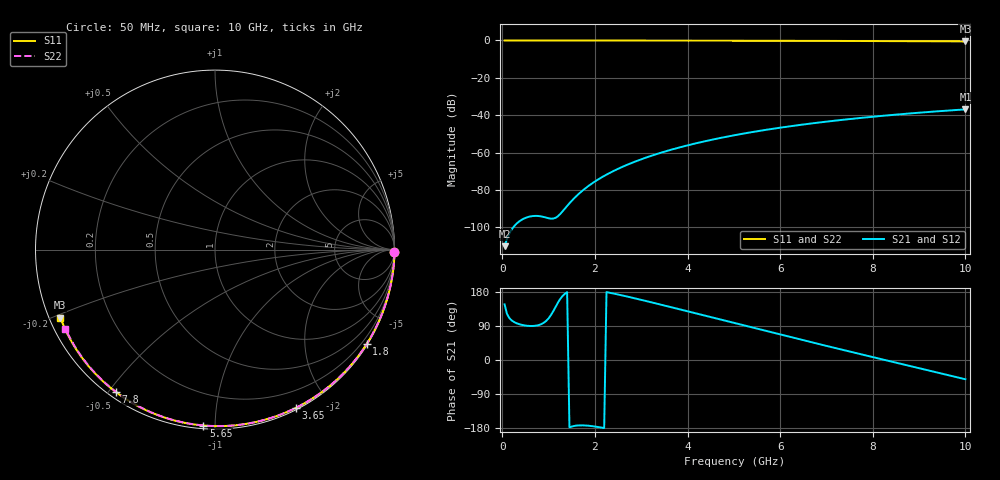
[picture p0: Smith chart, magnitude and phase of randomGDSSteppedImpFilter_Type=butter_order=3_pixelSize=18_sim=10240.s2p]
! freq	dB(S11)	phase(S11)	dB(S12)	phase(S12)
!  dB(S21)	phase(S21)	dB(S22)	phase(S22)
!S-par simulation data
#  GHz  S  DB  R 50
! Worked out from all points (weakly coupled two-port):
!   200 points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, 50 MHz to 10 GHz, reference 50 ohm
!   highest |S21| = -36.91 dB at 10 GHz (marker M1); lowest = -110.1 dB at 50 MHz (marker M2)
!   lowest |S11| = -0.5 dB at 10 GHz (marker M3), VSWR 33.02, Z = 1.58 - j10.5 ohm
!   |S11| at or under -10 dB: nowhere
!   |S22| runs from -0.5 to 0.0 dB; largest |S21 - S12| = 0
!   S11 on the Smith chart (normalised r, x): 50 MHz: open; 1.8 GHz: 0.03, -3.51; 3.65 GHz: 0.02, -1.64; 5.65 GHz: 0.02, -0.94; 7.8 GHz: 0.02, -0.52; 10 GHz: 0.03, -0.21
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0.05  -0.00 -0.9  -110.14 146.8  -110.14 146.8  -0.00 -0.9
0.45  -0.01 -8.1  -95.58 92.0  -95.58 92.0  -0.01 -7.9
0.85  -0.02 -15.2  -94.25 95.1  -94.25 95.1  -0.02 -14.9
1.3  -0.03 -23.1  -91.55 168.7  -91.55 168.7  -0.03 -22.7
1.75  -0.04 -31.0  -80.03 -172.5  -80.03 -172.5  -0.04 -30.4
1.8  -0.04 -31.8  -79.05 -172.8  -79.05 -172.8  -0.04 -31.2
1.95  -0.04 -34.4  -76.35 -174.7  -76.35 -174.7  -0.04 -33.7
2.1  -0.05 -37.0  -73.97 -177.5  -73.97 -177.5  -0.05 -36.3
2.3  -0.05 -40.4  -71.18 178.0  -71.18 178.0  -0.05 -39.6
2.5  -0.06 -43.8  -68.72 172.8  -68.72 172.8  -0.06 -42.9
2.9  -0.07 -50.5  -64.55 161.7  -64.55 161.7  -0.06 -49.5
3.4  -0.08 -58.8  -60.30 146.8  -60.30 146.8  -0.08 -57.6
3.65  -0.08 -62.8  -58.47 139.3  -58.47 139.3  -0.08 -61.6
4.3  -0.10 -73.2  -54.38 119.3  -54.38 119.3  -0.10 -71.7
5.05  -0.13 -84.8  -50.57 96.3  -50.57 96.3  -0.13 -83.1
5.65  -0.16 -93.8  -48.02 77.9  -48.02 77.9  -0.15 -91.9
6.15  -0.18 -101.1  -46.17 62.7  -46.17 62.7  -0.18 -99.1
6.7  -0.21 -109.1  -44.36 46.2  -44.36 46.2  -0.21 -106.9
7.8  -0.29 -124.7  -41.32 13.5  -41.32 13.5  -0.29 -122.1
8.35  -0.34 -132.4  -40.04 -2.6  -40.04 -2.6  -0.33 -129.6
9.2  -0.42 -144.5  -38.29 -27.4  -38.29 -27.4  -0.42 -141.1
10  -0.53 -156.3  -36.91 -50.8  -36.91 -50.8  -0.51 -152.1
